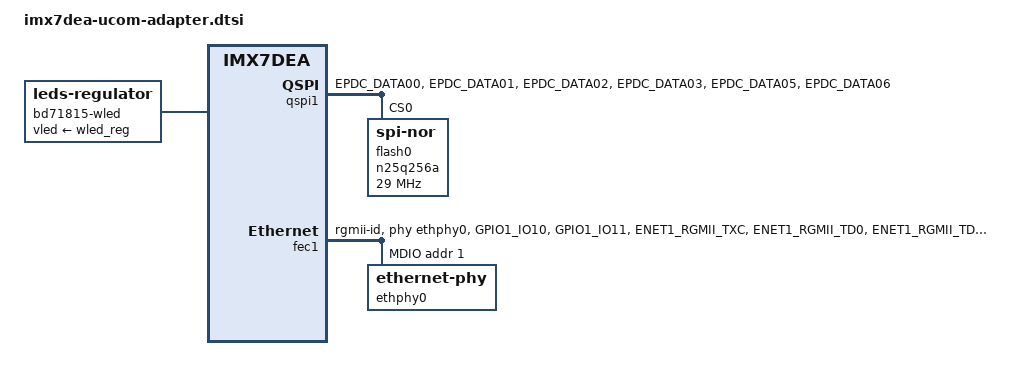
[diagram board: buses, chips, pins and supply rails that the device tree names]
/*
 * Copyright (C) 2015 Freescale Semiconductor, Inc.
 *
 * This program is free software; you can redistribute it and/or modify
 * it under the terms of the GNU General Public License version 2 as
 * published by the Free Software Foundation.
 */

/dts-v1/;

#include <dt-bindings/input/input.h>
#include "imx7dea-ucom.dtsi"

/ {
	bd71815-wled {
		compatible = "leds-regulator";
		name = "bd71815-wled";
		/* <0> = default off */
		brightness = <0>;
		vled-supply = <&wled_reg>;
		status = "okay";
	};
};


&iomuxc {

	imx7d-ucom-adapter {

		pinctrl_qspi1_1: qspi1grp_1 {
			fsl,pins = <
				MX7D_PAD_EPDC_DATA00__QSPI_A_DATA0 0x51
				MX7D_PAD_EPDC_DATA01__QSPI_A_DATA1 0x51
				MX7D_PAD_EPDC_DATA02__QSPI_A_DATA2 0x51
				MX7D_PAD_EPDC_DATA03__QSPI_A_DATA3 0x51
				MX7D_PAD_EPDC_DATA05__QSPI_A_SCLK 0x51
				MX7D_PAD_EPDC_DATA06__QSPI_A_SS0_B 0x51
			>;
		};

		pinctrl_enet1: enet1grp {
			fsl,pins = <
				MX7D_PAD_GPIO1_IO10__ENET1_MDIO		0x3
				MX7D_PAD_GPIO1_IO11__ENET1_MDC		0x3
				MX7D_PAD_ENET1_RGMII_TXC__ENET1_RGMII_TXC	0x3
				MX7D_PAD_ENET1_RGMII_TD0__ENET1_RGMII_TD0	0x3
				MX7D_PAD_ENET1_RGMII_TD1__ENET1_RGMII_TD1	0x3
				MX7D_PAD_ENET1_RGMII_TD2__ENET1_RGMII_TD2	0x3
				MX7D_PAD_ENET1_RGMII_TD3__ENET1_RGMII_TD3	0x3
				MX7D_PAD_ENET1_RGMII_TX_CTL__ENET1_RGMII_TX_CTL	0x1
				MX7D_PAD_ENET1_RGMII_RXC__ENET1_RGMII_RXC	0x1
				MX7D_PAD_ENET1_RGMII_RD0__ENET1_RGMII_RD0	0x1
				MX7D_PAD_ENET1_RGMII_RD1__ENET1_RGMII_RD1	0x1
				MX7D_PAD_ENET1_RGMII_RD2__ENET1_RGMII_RD2	0x1
				MX7D_PAD_ENET1_RGMII_RD3__ENET1_RGMII_RD3	0x1
				MX7D_PAD_ENET1_RGMII_RX_CTL__ENET1_RGMII_RX_CTL	0x1
				MX7D_PAD_ENET1_COL__GPIO7_IO15                  0x1
				MX7D_PAD_ENET1_RX_CLK__GPIO7_IO13               0x1
			>;
		};

	};
};

&qspi1 {
        pinctrl-names = "default";
        pinctrl-0 = <&pinctrl_qspi1_1>;
        status = "okay";
        ddrsmp=<0>;

        flash0: n25q256a@0 {
                #address-cells = <1>;
                #size-cells = <1>;
                compatible = "jedec,spi-nor";
                spi-max-frequency = <29000000>;
                /* take off one dummy cycle */
                spi-nor,ddr-quad-read-dummy = <6>;
                reg = <0>;
        };
};

&fec1 {
	pinctrl-names = "default";
	pinctrl-0 = <&pinctrl_enet1>;
	pinctrl-assert-gpios = <&gpio7 15 GPIO_ACTIVE_LOW>;
	assigned-clocks = <&clks IMX7D_ENET1_TIME_ROOT_SRC>,
			  <&clks IMX7D_ENET1_TIME_ROOT_CLK>;
	assigned-clock-parents = <&clks IMX7D_PLL_ENET_MAIN_100M_CLK>;
	assigned-clock-rates = <0>, <100000000>;
	phy-mode = "rgmii-id";
	phy-handle = <&ethphy0>;
	fsl,magic-packet;
	status = "okay";

	mdio {
		#address-cells = <1>;
		#size-cells = <0>;

		ethphy0: ethernet-phy@1 {
			reg = <1>;
		};
	};
};
